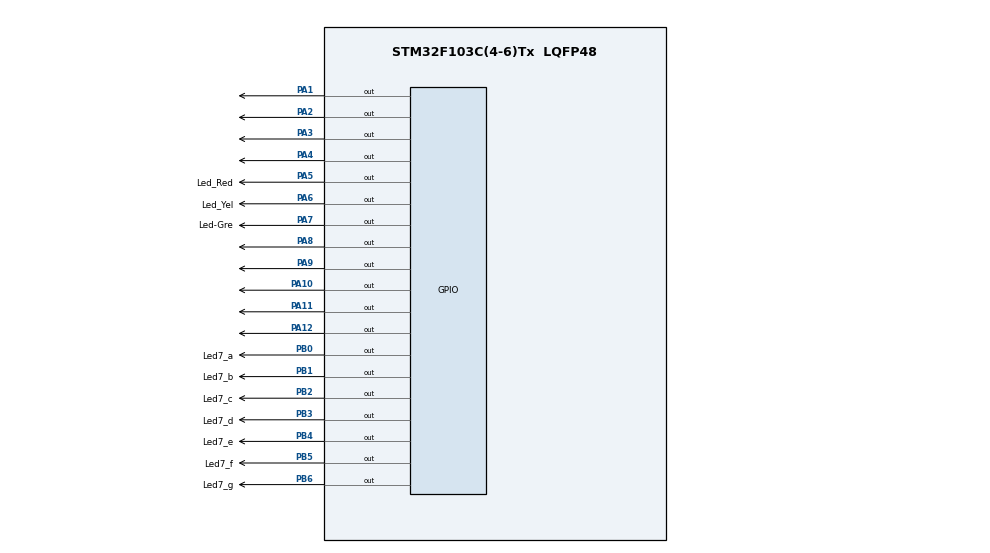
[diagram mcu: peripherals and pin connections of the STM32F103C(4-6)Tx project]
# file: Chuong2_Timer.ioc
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Mcu.Family=STM32F1
Mcu.Name=STM32F103C(4-6)Tx
Mcu.Package=LQFP48
NVIC.PriorityGroup=NVIC_PRIORITYGROUP_4
NVIC.TIM2_IRQn=true\:0\:0\:false\:false\:true\:true\:true
PA1.Signal=GPIO_Output
PA10.Signal=GPIO_Output
PA11.Signal=GPIO_Output
PA12.Signal=GPIO_Output
PA2.Signal=GPIO_Output
PA3.Signal=GPIO_Output
PA4.Signal=GPIO_Output
PA5.GPIO_Label=Led_Red
PA5.Signal=GPIO_Output
PA6.GPIO_Label=Led_Yel
PA6.Signal=GPIO_Output
PA7.GPIO_Label=Led-Gre
PA7.Signal=GPIO_Output
PA8.Signal=GPIO_Output
PA9.Signal=GPIO_Output
PB0.GPIO_Label=Led7_a
PB0.Signal=GPIO_Output
PB1.GPIO_Label=Led7_b
PB1.Signal=GPIO_Output
PB2.GPIO_Label=Led7_c
PB2.Signal=GPIO_Output
PB3.GPIO_Label=Led7_d
PB3.Signal=GPIO_Output
PB4.GPIO_Label=Led7_e
PB4.Signal=GPIO_Output
PB5.GPIO_Label=Led7_f
PB5.Signal=GPIO_Output
PB6.GPIO_Label=Led7_g
PB6.Signal=GPIO_Output
ProjectManager.HeapSize=0x200
ProjectManager.StackSize=0x400
ProjectManager.TargetToolchain=STM32CubeIDE
RCC.APB1Freq_Value=8000000
RCC.APB2Freq_Value=8000000
TIM2.Period=9
TIM2.Prescaler=7999
VP_SYS_VS_ND.Mode=No_Debug
VP_TIM2_VS_ClockSourceINT.Mode=Internal
board=custom

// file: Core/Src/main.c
/* USER CODE BEGIN Header */
/**
  ******************************************************************************
  * @file           : main.c
  * @brief          : Main program body
  ******************************************************************************
  * @attention
  *
  * <h2><center>&copy; Copyright (c) 2021 STMicroelectronics.
  * All rights reserved.</center></h2>
  *
  * This software component is licensed by ST under BSD 3-Clause license,
  * the "License"; You may not use this file except in compliance with the
  * License. You may obtain a copy of the License at:
  *                        opensource.org/licenses/BSD-3-Clause
  *
  ******************************************************************************
  */
/* USER CODE END Header */
#include "main.h"

TIM_HandleTypeDef htim2;

void SystemClock_Config(void);
static void MX_GPIO_Init(void);
static void MX_TIM2_Init(void);

/* USER CODE BEGIN 0 */
void display7SEG (int num) {
  // Set = Tat; Reset = Sang (giong LED)
  switch (num) {
	case 0:
		HAL_GPIO_WritePin(Led7_g_GPIO_Port, Led7_g_Pin, GPIO_PIN_SET);
		HAL_GPIO_WritePin(Led7_a_GPIO_Port, Led7_a_Pin, GPIO_PIN_RESET);
		HAL_GPIO_WritePin(Led7_b_GPIO_Port, Led7_b_Pin, GPIO_PIN_RESET);
		HAL_GPIO_WritePin(Led7_c_GPIO_Port, Led7_c_Pin, GPIO_PIN_RESET);
		HAL_GPIO_WritePin(Led7_d_GPIO_Port, Led7_d_Pin, GPIO_PIN_RESET);
		HAL_GPIO_WritePin(Led7_e_GPIO_Port, Led7_e_Pin, GPIO_PIN_RESET);
		HAL_GPIO_WritePin(Led7_f_GPIO_Port, Led7_f_Pin, GPIO_PIN_RESET);
		break;
	case 1:
		HAL_GPIO_WritePin(Led7_a_GPIO_Port, Led7_a_Pin, GPIO_PIN_SET);
		HAL_GPIO_WritePin(Led7_f_GPIO_Port, Led7_f_Pin, GPIO_PIN_SET);
		HAL_GPIO_WritePin(Led7_e_GPIO_Port, Led7_e_Pin, GPIO_PIN_SET);
		HAL_GPIO_WritePin(Led7_d_GPIO_Port, Led7_d_Pin, GPIO_PIN_SET);
		HAL_GPIO_WritePin(Led7_g_GPIO_Port, Led7_g_Pin, GPIO_PIN_SET);
		HAL_GPIO_WritePin(Led7_b_GPIO_Port, Led7_b_Pin, GPIO_PIN_RESET);
		HAL_GPIO_WritePin(Led7_c_GPIO_Port, Led7_c_Pin, GPIO_PIN_RESET);
		break;
	case 2:
		HAL_GPIO_WritePin(Led7_f_GPIO_Port, Led7_f_Pin, GPIO_PIN_SET);
		HAL_GPIO_WritePin(Led7_c_GPIO_Port, Led7_c_Pin, GPIO_PIN_SET);
		HAL_GPIO_WritePin(Led7_a_GPIO_Port, Led7_a_Pin, GPIO_PIN_RESET);
		HAL_GPIO_WritePin(Led7_b_GPIO_Port, Led7_b_Pin, GPIO_PIN_RESET);
		HAL_GPIO_WritePin(Led7_g_GPIO_Port, Led7_g_Pin, GPIO_PIN_RESET);
		HAL_GPIO_WritePin(Led7_e_GPIO_Port, Led7_e_Pin, GPIO_PIN_RESET);
		HAL_GPIO_WritePin(Led7_d_GPIO_Port, Led7_d_Pin, GPIO_PIN_RESET);
		break;
	case 3:
		HAL_GPIO_WritePin(Led7_f_GPIO_Port, Led7_f_Pin, GPIO_PIN_SET);
		HAL_GPIO_WritePin(Led7_e_GPIO_Port, Led7_e_Pin, GPIO_PIN_SET);
		HAL_GPIO_WritePin(Led7_a_GPIO_Port, Led7_a_Pin, GPIO_PIN_RESET);
		HAL_GPIO_WritePin(Led7_b_GPIO_Port, Led7_b_Pin, GPIO_PIN_RESET);
		HAL_GPIO_WritePin(Led7_g_GPIO_Port, Led7_g_Pin, GPIO_PIN_RESET);
		HAL_GPIO_WritePin(Led7_c_GPIO_Port, Led7_c_Pin, GPIO_PIN_RESET);
		HAL_GPIO_WritePin(Led7_d_GPIO_Port, Led7_d_Pin, GPIO_PIN_RESET);
		break;
	case 4:
		HAL_GPIO_WritePin(Led7_a_GPIO_Port, Led7_a_Pin, GPIO_PIN_SET);
		HAL_GPIO_WritePin(Led7_e_GPIO_Port, Led7_e_Pin, GPIO_PIN_SET);
		HAL_GPIO_WritePin(Led7_d_GPIO_Port, Led7_d_Pin, GPIO_PIN_SET);
		HAL_GPIO_WritePin(Led7_f_GPIO_Port, Led7_f_Pin, GPIO_PIN_RESET);
		HAL_GPIO_WritePin(Led7_b_GPIO_Port, Led7_b_Pin, GPIO_PIN_RESET);
		HAL_GPIO_WritePin(Led7_g_GPIO_Port, Led7_g_Pin, GPIO_PIN_RESET);
		HAL_GPIO_WritePin(Led7_c_GPIO_Port, Led7_c_Pin, GPIO_PIN_RESET);
		break;
	case 5:
		HAL_GPIO_WritePin(Led7_b_GPIO_Port, Led7_b_Pin, GPIO_PIN_SET);
		HAL_GPIO_WritePin(Led7_e_GPIO_Port, Led7_e_Pin, GPIO_PIN_SET);
		HAL_GPIO_WritePin(Led7_a_GPIO_Port, Led7_a_Pin, GPIO_PIN_RESET);
		HAL_GPIO_WritePin(Led7_f_GPIO_Port, Led7_f_Pin, GPIO_PIN_RESET);
		HAL_GPIO_WritePin(Led7_g_GPIO_Port, Led7_g_Pin, GPIO_PIN_RESET);
		HAL_GPIO_WritePin(Led7_c_GPIO_Port, Led7_c_Pin, GPIO_PIN_RESET);
		HAL_GPIO_WritePin(Led7_d_GPIO_Port, Led7_d_Pin, GPIO_PIN_RESET);
		break;
	case 6:
		HAL_GPIO_WritePin(Led7_b_GPIO_Port, Led7_b_Pin, GPIO_PIN_SET);
		HAL_GPIO_WritePin(Led7_a_GPIO_Port, Led7_a_Pin, GPIO_PIN_RESET);
		HAL_GPIO_WritePin(Led7_f_GPIO_Port, Led7_f_Pin, GPIO_PIN_RESET);
		HAL_GPIO_WritePin(Led7_g_GPIO_Port, Led7_g_Pin, GPIO_PIN_RESET);
		HAL_GPIO_WritePin(Led7_e_GPIO_Port, Led7_e_Pin, GPIO_PIN_RESET);
		HAL_GPIO_WritePin(Led7_c_GPIO_Port, Led7_c_Pin, GPIO_PIN_RESET);
		HAL_GPIO_WritePin(Led7_d_GPIO_Port, Led7_d_Pin, GPIO_PIN_RESET);
		break;
	case 7:
		HAL_GPIO_WritePin(Led7_f_GPIO_Port, Led7_f_Pin, GPIO_PIN_SET);
		HAL_GPIO_WritePin(Led7_g_GPIO_Port, Led7_g_Pin, GPIO_PIN_SET);
		HAL_GPIO_WritePin(Led7_e_GPIO_Port, Led7_e_Pin, GPIO_PIN_SET);
		HAL_GPIO_WritePin(Led7_d_GPIO_Port, Led7_d_Pin, GPIO_PIN_SET);
		HAL_GPIO_WritePin(Led7_a_GPIO_Port, Led7_a_Pin, GPIO_PIN_RESET);
		HAL_GPIO_WritePin(Led7_b_GPIO_Port, Led7_b_Pin, GPIO_PIN_RESET);
		HAL_GPIO_WritePin(Led7_c_GPIO_Port, Led7_c_Pin, GPIO_PIN_RESET);
		break;
	case 8:
		HAL_GPIO_WritePin(Led7_a_GPIO_Port, Led7_a_Pin, GPIO_PIN_RESET);
		HAL_GPIO_WritePin(Led7_b_GPIO_Port, Led7_b_Pin, GPIO_PIN_RESET);
		HAL_GPIO_WritePin(Led7_c_GPIO_Port, Led7_c_Pin, GPIO_PIN_RESET);
		HAL_GPIO_WritePin(Led7_f_GPIO_Port, Led7_f_Pin, GPIO_PIN_RESET);
		HAL_GPIO_WritePin(Led7_g_GPIO_Port, Led7_g_Pin, GPIO_PIN_RESET);
		HAL_GPIO_WritePin(Led7_e_GPIO_Port, Led7_e_Pin, GPIO_PIN_RESET);
		HAL_GPIO_WritePin(Led7_d_GPIO_Port, Led7_d_Pin, GPIO_PIN_RESET);
		break;
	case 9:
		HAL_GPIO_WritePin(Led7_e_GPIO_Port, Led7_e_Pin, GPIO_PIN_SET);
		HAL_GPIO_WritePin(Led7_a_GPIO_Port, Led7_a_Pin, GPIO_PIN_RESET);
		HAL_GPIO_WritePin(Led7_b_GPIO_Port, Led7_b_Pin, GPIO_PIN_RESET);
		HAL_GPIO_WritePin(Led7_c_GPIO_Port, Led7_c_Pin, GPIO_PIN_RESET);
		HAL_GPIO_WritePin(Led7_f_GPIO_Port, Led7_f_Pin, GPIO_PIN_RESET);
		HAL_GPIO_WritePin(Led7_g_GPIO_Port, Led7_g_Pin, GPIO_PIN_RESET);
		HAL_GPIO_WritePin(Led7_d_GPIO_Port, Led7_d_Pin, GPIO_PIN_RESET);
		break;
	default:
		HAL_GPIO_WritePin(GPIOB, GPIO_PIN_All, GPIO_PIN_SET);
		break;
}
}
/* USER CODE END 0 */

int main(void)
{

  /* MCU Configuration--------------------------------------------------------*/

  /* Reset of all peripherals, Initializes the Flash interface and the Systick. */
  HAL_Init();

  /* Configure the system clock */
  SystemClock_Config();

  /* Initialize all configured peripherals */
  MX_GPIO_Init();
  MX_TIM2_Init();
  /* USER CODE BEGIN 2 */
  HAL_TIM_Base_Start_IT (&htim2);
  /* USER CODE END 2 */

  /* Infinite loop */
  while (1)
  {

  }
}

void SystemClock_Config(void)
{
  RCC_OscInitTypeDef RCC_OscInitStruct = {0};
  RCC_ClkInitTypeDef RCC_ClkInitStruct = {0};

  /** Initializes the RCC Oscillators according to the specified parameters
  * in the RCC_OscInitTypeDef structure.
  */
  RCC_OscInitStruct.OscillatorType = RCC_OSCILLATORTYPE_HSI;
  RCC_OscInitStruct.HSIState = RCC_HSI_ON;
  RCC_OscInitStruct.HSICalibrationValue = RCC_HSICALIBRATION_DEFAULT;
  RCC_OscInitStruct.PLL.PLLState = RCC_PLL_NONE;
  if (HAL_RCC_OscConfig(&RCC_OscInitStruct) != HAL_OK)
  {
    Error_Handler();
  }
  /** Initializes the CPU, AHB and APB buses clocks
  */
  RCC_ClkInitStruct.ClockType = RCC_CLOCKTYPE_HCLK|RCC_CLOCKTYPE_SYSCLK
                              |RCC_CLOCKTYPE_PCLK1|RCC_CLOCKTYPE_PCLK2;
  RCC_ClkInitStruct.SYSCLKSource = RCC_SYSCLKSOURCE_HSI;
  RCC_ClkInitStruct.AHBCLKDivider = RCC_SYSCLK_DIV1;
  RCC_ClkInitStruct.APB1CLKDivider = RCC_HCLK_DIV1;
  RCC_ClkInitStruct.APB2CLKDivider = RCC_HCLK_DIV1;

  if (HAL_RCC_ClockConfig(&RCC_ClkInitStruct, FLASH_LATENCY_0) != HAL_OK)
  {
    Error_Handler();
  }
}

static void MX_TIM2_Init(void)
{

  TIM_ClockConfigTypeDef sClockSourceConfig = {0};
  TIM_MasterConfigTypeDef sMasterConfig = {0};

  htim2.Instance = TIM2;
  htim2.Init.Prescaler = 7999;
  htim2.Init.CounterMode = TIM_COUNTERMODE_UP;
  htim2.Init.Period = 9;
  htim2.Init.ClockDivision = TIM_CLOCKDIVISION_DIV1;
  htim2.Init.AutoReloadPreload = TIM_AUTORELOAD_PRELOAD_DISABLE;
  if (HAL_TIM_Base_Init(&htim2) != HAL_OK)
  {
    Error_Handler();
  }
  sClockSourceConfig.ClockSource = TIM_CLOCKSOURCE_INTERNAL;
  if (HAL_TIM_ConfigClockSource(&htim2, &sClockSourceConfig) != HAL_OK)
  {
    Error_Handler();
  }
  sMasterConfig.MasterOutputTrigger = TIM_TRGO_RESET;
  sMasterConfig.MasterSlaveMode = TIM_MASTERSLAVEMODE_DISABLE;
  if (HAL_TIMEx_MasterConfigSynchronization(&htim2, &sMasterConfig) != HAL_OK)
  {
    Error_Handler();
  }

}

static void MX_GPIO_Init(void)
{
  GPIO_InitTypeDef GPIO_InitStruct = {0};

  /* GPIO Ports Clock Enable */
  __HAL_RCC_GPIOA_CLK_ENABLE();
  __HAL_RCC_GPIOB_CLK_ENABLE();

  /*Configure GPIO pin Output Level */
  HAL_GPIO_WritePin(GPIOA, GPIO_PIN_1|GPIO_PIN_2|GPIO_PIN_3|GPIO_PIN_4
                          |Led_Red_Pin|Led_Yel_Pin|Led_Gre_Pin|GPIO_PIN_8
                          |GPIO_PIN_9|GPIO_PIN_10|GPIO_PIN_11|GPIO_PIN_12, GPIO_PIN_RESET);

  /*Configure GPIO pin Output Level */
  HAL_GPIO_WritePin(GPIOB, Led7_a_Pin|Led7_b_Pin|Led7_c_Pin|Led7_d_Pin
                          |Led7_e_Pin|Led7_f_Pin|Led7_g_Pin, GPIO_PIN_RESET);

  /*Configure GPIO pins : PA1 PA2 PA3 PA4
                           Led_Red_Pin Led_Yel_Pin Led_Gre_Pin PA8
                           PA9 PA10 PA11 PA12 */
  GPIO_InitStruct.Pin = GPIO_PIN_1|GPIO_PIN_2|GPIO_PIN_3|GPIO_PIN_4
                          |Led_Red_Pin|Led_Yel_Pin|Led_Gre_Pin|GPIO_PIN_8
                          |GPIO_PIN_9|GPIO_PIN_10|GPIO_PIN_11|GPIO_PIN_12;
  GPIO_InitStruct.Mode = GPIO_MODE_OUTPUT_PP;
  GPIO_InitStruct.Pull = GPIO_NOPULL;
  GPIO_InitStruct.Speed = GPIO_SPEED_FREQ_LOW;
  HAL_GPIO_Init(GPIOA, &GPIO_InitStruct);

  /*Configure GPIO pins : Led7_a_Pin Led7_b_Pin Led7_c_Pin Led7_d_Pin
                           Led7_e_Pin Led7_f_Pin Led7_g_Pin */
  GPIO_InitStruct.Pin = Led7_a_Pin|Led7_b_Pin|Led7_c_Pin|Led7_d_Pin
                          |Led7_e_Pin|Led7_f_Pin|Led7_g_Pin;
  GPIO_InitStruct.Mode = GPIO_MODE_OUTPUT_PP;
  GPIO_InitStruct.Pull = GPIO_NOPULL;
  GPIO_InitStruct.Speed = GPIO_SPEED_FREQ_LOW;
  HAL_GPIO_Init(GPIOB, &GPIO_InitStruct);

}

/* USER CODE BEGIN 4 */
int counter = 100;
void HAL_TIM_PeriodElapsedCallback ( TIM_HandleTypeDef * htim )
{
	counter --;
	if( counter <= 0) {
		counter = 100;
		HAL_GPIO_TogglePin ( Led_Red_GPIO_Port , Led_Red_Pin );
	}
}
/* USER CODE END 4 */

void Error_Handler(void)
{
  __disable_irq();
  while (1)
  {
  }
}

/************************ (C) COPYRIGHT STMicroelectronics *****END OF FILE****/
